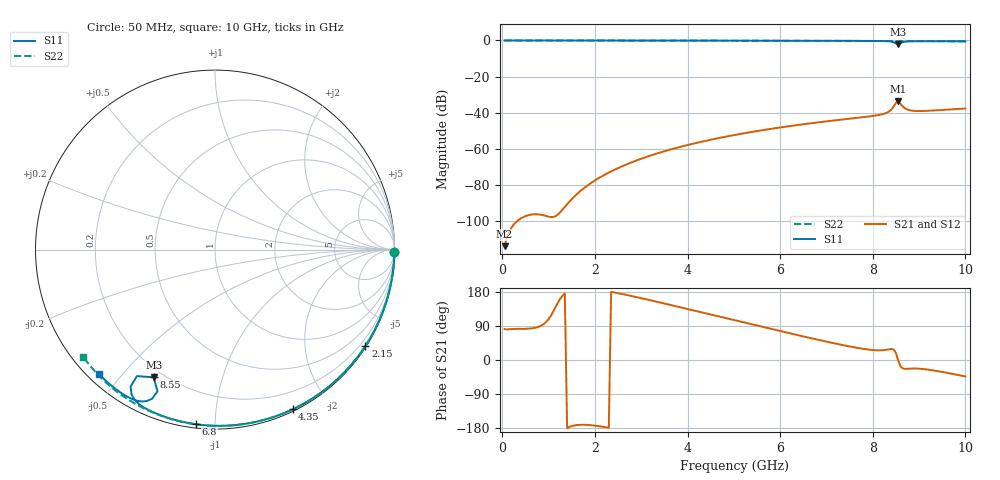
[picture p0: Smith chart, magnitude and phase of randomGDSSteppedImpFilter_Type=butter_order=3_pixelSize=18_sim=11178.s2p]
! freq	dB(S11)	phase(S11)	dB(S12)	phase(S12)
!  dB(S21)	phase(S21)	dB(S22)	phase(S22)
!S-par simulation data
#  GHz  S  DB  R 50
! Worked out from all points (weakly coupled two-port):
!   200 points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, 50 MHz to 10 GHz, reference 50 ohm
!   highest |S21| = -33.80 dB at 8.55 GHz (marker M1); lowest = -114.1 dB at 50 MHz (marker M2)
!   lowest |S11| = -2.1 dB at 8.55 GHz (marker M3), VSWR 8.49, Z = 8.17 - j30.8 ohm
!   |S11| at or under -10 dB: nowhere
!   |S22| runs from -0.5 to 0.0 dB; largest |S21 - S12| = 0
!   S11 on the Smith chart (normalised r, x): 50 MHz: open; 2.15 GHz: 0.03, -3.41; 4.35 GHz: 0.02, -1.60; 6.8 GHz: 0.02, -0.90; 8.55 GHz: 0.16, -0.62; 10 GHz: 0.03, -0.43
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0.05  -0.00 -0.8  -114.08 81.7  -114.08 81.7  -0.00 -0.8
0.9  -0.02 -13.8  -97.03 95.4  -97.03 95.4  -0.02 -14.5
1.75  -0.03 -26.7  -82.16 -170.9  -82.16 -170.9  -0.04 -28.0
1.85  -0.04 -28.2  -80.23 -171.4  -80.23 -171.4  -0.04 -29.6
2.15  -0.04 -32.6  -75.32 -175.9  -75.32 -175.9  -0.04 -34.2
2.75  -0.05 -41.5  -68.02 169.9  -68.02 169.9  -0.06 -43.5
3.4  -0.07 -50.8  -62.22 151.9  -62.22 151.9  -0.07 -53.2
4.35  -0.09 -64.1  -55.89 124.3  -55.89 124.3  -0.10 -67.1
5.05  -0.11 -73.6  -52.26 103.8  -52.26 103.8  -0.12 -77.0
6.7  -0.18 -95.0  -45.81 56.6  -45.81 56.6  -0.19 -99.2
6.8  -0.19 -96.2  -45.49 53.9  -45.49 53.9  -0.20 -100.5
8.05  -0.29 -112.6  -41.68 25.8  -41.68 25.8  -0.28 -116.4
8.25  -0.36 -116.0  -40.60 26.2  -40.60 26.2  -0.30 -119.0
8.35  -0.48 -118.4  -39.40 28.3  -39.40 28.3  -0.31 -120.2
8.45  -0.95 -121.7  -36.68 27.6  -36.68 27.6  -0.32 -121.4
8.5  -1.64 -121.7  -34.64 18.4  -34.64 18.4  -0.32 -122.1
8.55  -2.05 -115.7  -33.80 -1.3  -33.80 -1.3  -0.32 -122.7
8.6  -1.39 -112.1  -35.08 -16.9  -35.08 -16.9  -0.33 -123.3
8.65  -0.89 -112.9  -36.64 -22.5  -36.64 -22.5  -0.33 -124.0
8.75  -0.55 -115.7  -38.34 -23.2  -38.34 -23.2  -0.34 -125.2
8.85  -0.45 -117.8  -38.94 -22.5  -38.94 -22.5  -0.35 -126.5
10  -0.47 -133.0  -37.72 -43.3  -37.72 -43.3  -0.48 -140.8
